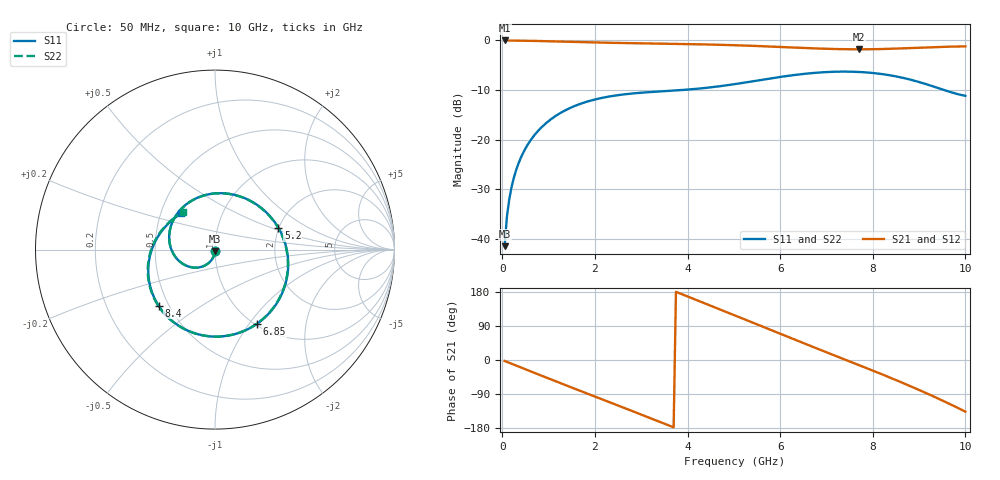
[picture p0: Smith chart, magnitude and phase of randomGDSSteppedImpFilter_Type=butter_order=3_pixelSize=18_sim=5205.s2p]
! freq	dB(S11)	phase(S11)	dB(S12)	phase(S12)
!  dB(S21)	phase(S21)	dB(S22)	phase(S22)
!S-par simulation data
#  GHz  S  DB  R 50
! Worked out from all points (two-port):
!   200 points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, 50 MHz to 10 GHz, reference 50 ohm
!   highest |S21| = 0.00 dB at 50 MHz (marker M1); lowest = -1.8 dB at 7.7 GHz (marker M2)
!   |S21| within 3 dB of the highest: start of sweep to end of sweep
!   lowest |S11| = -41.5 dB at 50 MHz (marker M3), VSWR 1.02, Z = 50 - j0.843 ohm
!   |S11| at or under -10 dB: start of sweep to 3.866 GHz; 9.542 GHz to end of sweep
!   |S22| runs from -41.5 to -6.3 dB; largest |S21 - S12| = 0
!   S11 on the Smith chart (normalised r, x): 50 MHz: 1.00, -0.02; 5.2 GHz: 1.99, +0.56; 6.85 GHz: 1.02, -1.09; 8.4 GHz: 0.44, -0.34; 10 GHz: 0.64, +0.28
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0.05  -41.47 -91.7  -0.00 -2.5  -0.00 -2.5  -41.47 -91.7
0.1  -35.51 -94.4  -0.01 -5.0  -0.01 -5.0  -35.51 -94.4
0.2  -29.56 -99.7  -0.02 -9.9  -0.02 -9.9  -29.56 -99.7
0.5  -21.79 -114.9  -0.06 -24.5  -0.06 -24.5  -21.79 -115.0
1.15  -15.23 -146.6  -0.20 -56.0  -0.20 -56.0  -15.23 -146.8
1.75  -12.57 -175.3  -0.35 -84.6  -0.35 -84.6  -12.57 -175.6
2.5  -11.03 149.2  -0.51 -120.2  -0.51 -120.2  -11.03 148.7
3.4  -10.28 106.3  -0.64 -163.2  -0.64 -163.2  -10.28 105.6
3.8  -10.04 87.0  -0.70 177.5  -0.70 177.5  -10.05 86.2
4.2  -9.75 67.7  -0.77 158.0  -0.77 158.0  -9.75 66.7
5.05  -8.76 26.2  -0.97 116.1  -0.97 116.1  -8.77 25.1
5.2  -8.55 18.9  -1.02 108.6  -1.02 108.6  -8.55 17.8
5.9  -7.50 -15.2  -1.27 74.0  -1.27 74.0  -7.51 -16.3
6.7  -6.57 -53.5  -1.59 34.9  -1.59 34.9  -6.58 -54.6
6.85  -6.46 -60.7  -1.64 27.7  -1.64 27.7  -6.47 -61.8
7.7  -6.35 -101.0  -1.79 -13.3  -1.79 -13.3  -6.36 -102.1
8.35  -6.99 -132.6  -1.69 -45.3  -1.69 -45.3  -7.00 -133.9
8.4  -7.07 -135.2  -1.68 -47.8  -1.68 -47.8  -7.08 -136.5
8.85  -7.99 -158.5  -1.52 -71.0  -1.52 -71.0  -8.00 -160.0
9.25  -9.10 179.4  -1.37 -92.7  -1.37 -92.7  -9.10 177.6
9.65  -10.32 155.3  -1.25 -115.4  -1.25 -115.4  -10.34 153.3
10  -11.17 132.5  -1.21 -136.2  -1.21 -136.2  -11.17 130.5
